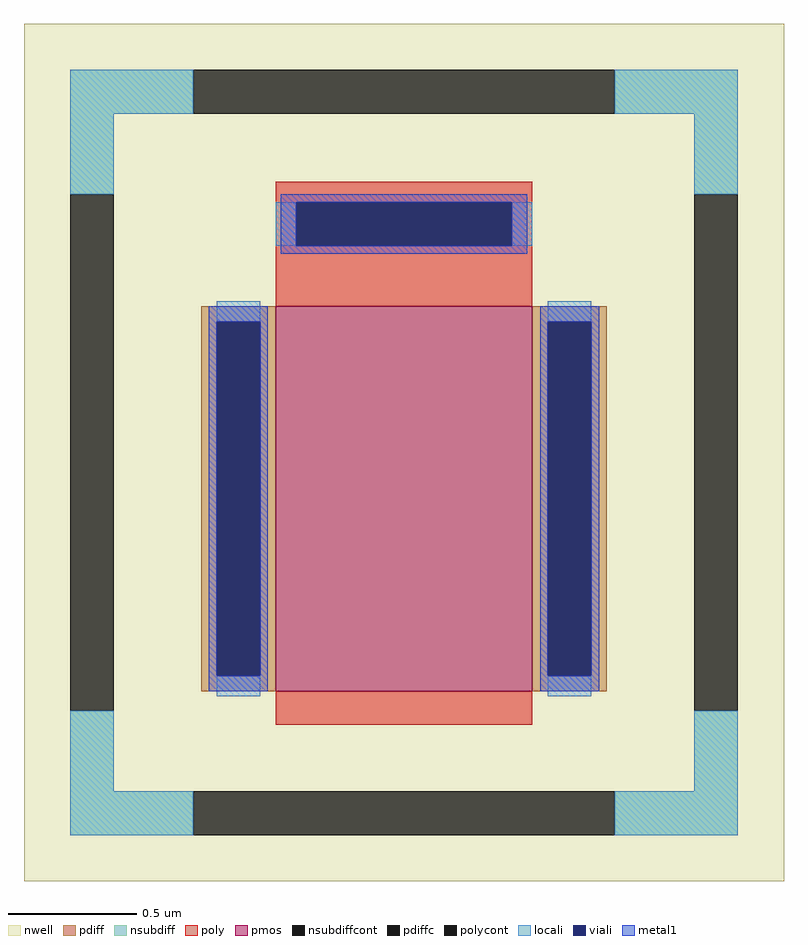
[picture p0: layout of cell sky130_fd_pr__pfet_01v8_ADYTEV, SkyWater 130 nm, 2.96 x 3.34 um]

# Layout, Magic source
magic
tech sky130A
magscale 1 2
<< nwell >>
rect -296 -334 296 334
<< pmos >>
rect -100 -186 100 114
<< pdiff >>
rect -158 102 -100 114
rect -158 -174 -146 102
rect -112 -174 -100 102
rect -158 -186 -100 -174
rect 100 102 158 114
rect 100 -174 112 102
rect 146 -174 158 102
rect 100 -186 158 -174
<< pdiffc >>
rect -146 -174 -112 102
rect 112 -174 146 102
<< nsubdiff >>
rect -260 264 -164 298
rect 164 264 260 298
rect -260 201 -226 264
rect 226 201 260 264
rect -260 -264 -226 -201
rect 226 -264 260 -201
rect -260 -298 -164 -264
rect 164 -298 260 -264
<< nsubdiffcont >>
rect -164 264 164 298
rect -260 -201 -226 201
rect 226 -201 260 201
rect -164 -298 164 -264
<< poly >>
rect -100 195 100 211
rect -100 161 -84 195
rect 84 161 100 195
rect -100 114 100 161
rect -100 -212 100 -186
<< polycont >>
rect -84 161 84 195
<< locali >>
rect -260 264 -164 298
rect 164 264 260 298
rect -260 201 -226 264
rect 226 201 260 264
rect -100 161 -84 195
rect 84 161 100 195
rect -146 102 -112 118
rect -146 -190 -112 -174
rect 112 102 146 118
rect 112 -190 146 -174
rect -260 -264 -226 -201
rect 226 -264 260 -201
rect -260 -298 -164 -264
rect 164 -298 260 -264
<< viali >>
rect -84 161 84 195
rect -146 -174 -112 102
rect 112 -174 146 102
<< metal1 >>
rect -96 195 96 201
rect -96 161 -84 195
rect 84 161 96 195
rect -96 155 96 161
rect -152 102 -106 114
rect -152 -174 -146 102
rect -112 -174 -106 102
rect -152 -186 -106 -174
rect 106 102 152 114
rect 106 -174 112 102
rect 146 -174 152 102
rect 106 -186 152 -174
<< properties >>
string FIXED_BBOX -243 -281 243 281
string gencell sky130_fd_pr__pfet_01v8
string library sky130
string parameters w 1.5 l 1 m 1 nf 1 diffcov 100 polycov 100 guard 1 glc 1 grc 1 gtc 1 gbc 1 tbcov 100 rlcov 100 topc 1 botc 0 poverlap 0 doverlap 1 lmin 0.15 wmin 0.42 compatible {sky130_fd_pr__pfet_01v8  sky130_fd_pr__pfet_01v8_lvt sky130_fd_pr__pfet_01v8_hvt  sky130_fd_pr__pfet_g5v0d10v5} full_metal 1 viasrc 100 viadrn 100 viagate 100 viagb 0 viagr 0 viagl 0 viagt 0
<< end >>
